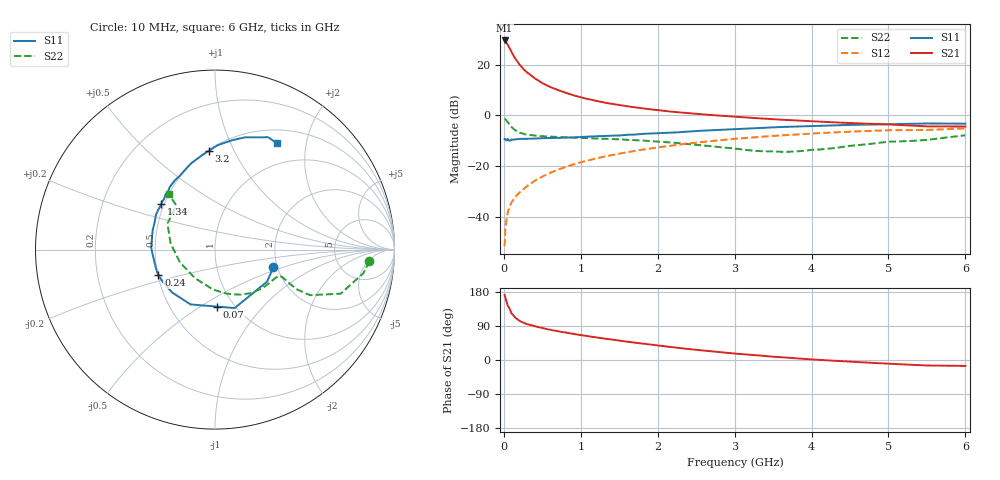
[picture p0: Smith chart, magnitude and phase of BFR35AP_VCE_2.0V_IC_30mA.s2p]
! Infineon Technologies  Discrete & RF Semiconductors
! BFR35AP
! VCE =  2.0 V,  IC =  30 mA
! Common Emitter S-Parameters:  Nov 2015
# GHz  S  MA  R  50
!  f  S11  S21  S12  S22
! GHz  MAG  ANG  MAG  ANG  MAG  ANG  MAG  ANG
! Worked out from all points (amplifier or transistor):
!   210 points, 10 MHz to 6 GHz, reference 50 ohm
!   highest |S21| = 29.6 dB at 10 MHz (marker M1)
!   |S21| within 3 dB of that: start of sweep to 72.93 MHz
!   unconditionally stable (mu >= 1): start of sweep to 15.38 MHz; 141.1 MHz to end of sweep
!   at 185 MHz: K = 1.11, MAG = 24.0 dB, |S12| = -31.1 dB
!   at 1.52 GHz: K = 1.34, MAG = 6.0 dB, |S12| = -15.0 dB
!   at 6 GHz: K = 1.09, MAG = -1.4 dB, |S12| = -5.1 dB
!   S11 on the Smith chart (normalised r, x): 10 MHz: 1.91, -0.42; 70 MHz: 0.83, -0.59; 240 MHz: 0.50, -0.16; 1.34 GHz: 0.48, +0.29; 3.2 GHz: 0.51, +0.80; 6 GHz: 0.67, +1.51
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0.01  0.3399 -16.6  30.25 171.6  0.0026 80.3  0.8623 -4.3
0.02  0.3407 -31.5  29.45 163.6  0.0057 82.6  0.8369 -9.1
0.05  0.3437 -71.4  25.19 143.7  0.012 68.6  0.7425 -19.3
0.07  0.3178 -87.9  21.87 137.1  0.0148 66.3  0.6797 -21.5
0.1  0.3344 -114.0  17.69 122.8  0.019 64.1  0.5877 -25.6
0.15  0.3379 -134.9  13.15 111.0  0.0245 63.3  0.5043 -25.9
0.2  0.3425 -148.7  10.26 103.7  0.0295 66.0  0.4596 -24.6
0.24  0.3452 -155.9  8.707 99.8  0.0334 67.2  0.4373 -23.7
0.3  0.3446 -164.6  7.09 94.7  0.0398 69.3  0.4162 -22.7
0.4  0.3488 -175.4  5.417 89.1  0.0507 71.1  0.3983 -22.1
0.5  0.3557 178.2  4.33 84.0  0.0615 71.9  0.3863 -22.4
0.6  0.3568 171.4  3.653 79.7  0.0727 71.8  0.3796 -23.3
0.7  0.3588 166.5  3.184 75.9  0.0842 71.9  0.3744 -24.7
0.9  0.3666 157.5  2.505 68.8  0.1067 70.6  0.3636 -27.8
1.02  0.3747 152.5  2.233 65.0  0.1204 69.8  0.3592 -30.1
1.34  0.3924 139.7  1.752 55.6  0.157 66.7  0.3439 -37.0
2.02  0.4464 119.7  1.253 37.8  0.2347 58.7  0.3018 -54.8
3.1  0.5432 95.2  0.92 15.5  0.3533 43.3  0.2116 -98.8
3.2  0.5524 93.4  0.899 13.9  0.363 41.8  0.2035 -104.9
4.1  0.6224 79.8  0.752 0.4  0.4454 28.3  0.2117 -166.4
5.1  0.6718 68.6  0.651 -10.7  0.5086 13.1  0.304 147.0
6  0.6861 60.0  0.602 -15.6  0.5535 2.5  0.4038 129.8
